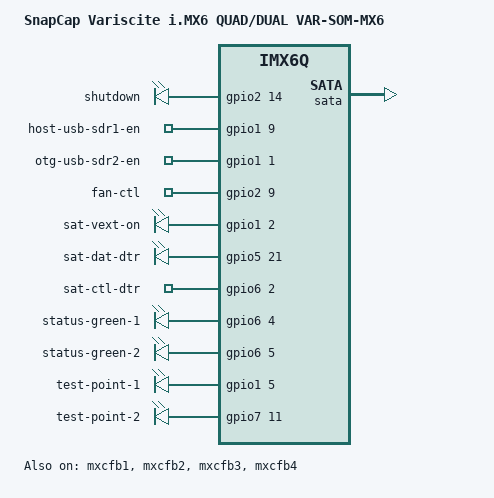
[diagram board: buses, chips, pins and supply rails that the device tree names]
/*
 * Copyright (C) 2015-2017 Variscite Ltd.
 *
 * This program is free software; you can redistribute it and/or modify
 * it under the terms of the GNU General Public License version 2 as
 * published by the Free Software Foundation.
 */

/dts-v1/;

#include "imx6q.dtsi"
#include "imx6qdl-var-som.dtsi"

/ {
	model = "SnapCap Variscite i.MX6 QUAD/DUAL VAR-SOM-MX6";
	compatible = "fsl,imx6q-var-som", "fsl,imx6q";

    leds {
        pinctrl-names = "default";
        pinctrl-0 = <&pinctrl_snapcap_gpio_output>;
        compatible = "gpio-leds";

        shutdown {
            label = "shutdown";
            gpios = <&gpio2 14 GPIO_ACTIVE_HIGH>;
            default-state = "on";
        };

        host-usb-sdr1-en {
            label = "host-usb-sdr1-en";
            gpios = <&gpio1 9 GPIO_ACTIVE_HIGH>;
            default-state = "off";
        };

        otg-usb-sdr2-en {
            label = "otg-usb-sdr2-en";
            gpios = <&gpio1 1 GPIO_ACTIVE_HIGH>;
            default-state = "off";
        };

        fan-ctl {
            label = "fan-ctl";
            gpios = <&gpio2 9 GPIO_ACTIVE_HIGH>;
            default-state = "on";
        };

        sat-vext-on {
            label = "sat-vext-on";
            gpios = <&gpio1 2 GPIO_ACTIVE_HIGH>;
            default-state = "on";
        };

        sat-dat-dtr {
            label = "sat-dat-dtr";
            gpios = <&gpio5 21 GPIO_ACTIVE_HIGH>;
            default-state = "off";
        };

        sat-ctl-dtr {
            label = "sat-ctl-dtr";
            gpios = <&gpio6 2 GPIO_ACTIVE_HIGH>;
            default-state = "off";
        };

        status-green-1 {
            label = "status-green-1";
            gpios = <&gpio6 4 GPIO_ACTIVE_HIGH>;
            default-state = "off";
        };

        status-green-2 {
            label = "status-green-2";
            gpios = <&gpio6 5 GPIO_ACTIVE_HIGH>;
            default-state = "off";
        };

        test-point-1 {
            label = "test-point-1";
            gpios = <&gpio1 5 GPIO_ACTIVE_HIGH>;
            default-state = "off";
        };

        test-point-2 {
            label = "test-point-2";
            gpios = <&gpio7 11 GPIO_ACTIVE_HIGH>;
            default-state = "off";
        };
    };
};

&cpu0 {
	operating-points = <
		/* kHz    uV */
		1200000	1350000
		996000	1250000
		852000	1250000
		792000	1175000
		396000	1175000
	>;

	fsl,soc-operating-points = <
		/* ARM kHz  SOC-PU uV */
		1200000	1275000
		996000	1250000
		852000	1250000
		792000	1250000
		396000	1250000
	>;
};

&ldb {
	lvds-channel@0 {
		crtc = "ipu2-di0";
	};

	lvds-channel@1 {
		crtc = "ipu2-di1";
	};
};

&mxcfb1 {
	status = "okay";
};

&mxcfb2 {
	status = "okay";
};

&mxcfb3 {
	status = "okay";
};

&mxcfb4 {
	status = "okay";
};

&sata {
	status = "okay";
};
